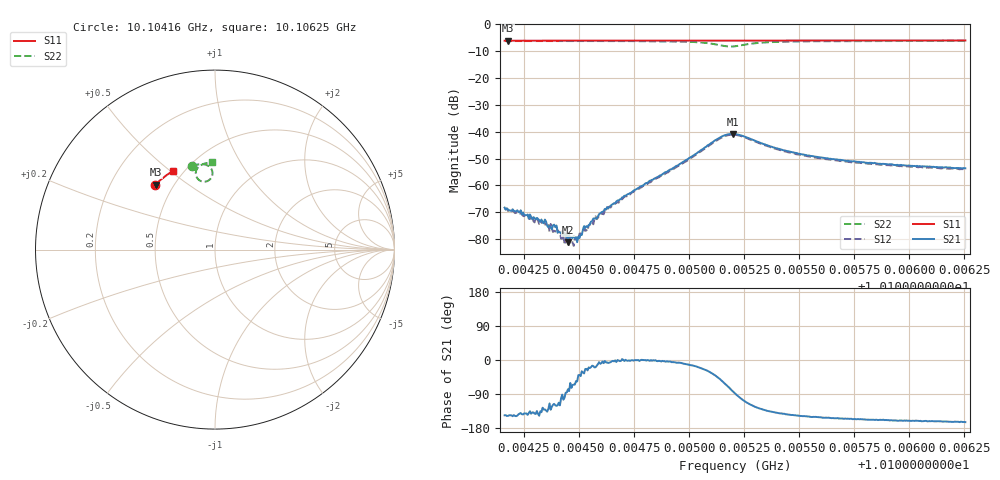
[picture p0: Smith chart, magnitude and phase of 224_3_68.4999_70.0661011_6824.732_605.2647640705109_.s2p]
#  HZ  S  RI  R  50.00
! Rohde & Schwarz Vector Network Analyzer
! Rohde-Schwarz,ZNB20-2Port,1311601062101988,3.16
! Created: UTC 3/20/2024, 5:13:47 PM
! freq[Hz]  re:S11  im:S11  re:S21  im:S21  re:S12  im:S12  re:S22  im:S22
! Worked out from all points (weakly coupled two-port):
!   401 points, 10.10416 GHz to 10.10625 GHz, reference 50 ohm
!   highest |S21| = -40.81 dB at 10.1052 GHz (marker M1); lowest = -81.2 dB at 10.10445 GHz (marker M2)
!   lowest |S11| = -6.2 dB at 10.10418 GHz (marker M3), VSWR 2.93, Z = 19.9 + j19 ohm
!   |S11| at or under -10 dB: nowhere
!   |S22| runs from -8.4 to -6.2 dB; largest |S21 - S12| = 0.00099
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1.0104162e10  -0.3322 0.3618  -0.000321 -0.000216  -0.000283 -0.000214  -0.1269 0.4665
1.0104178e10  -0.3313 0.3626  -0.000301 -0.000193  -0.000252 -0.00022  -0.1259 0.4668
1.0104225e10  -0.3294 0.3646  -0.000259 -0.000192  -0.000229 -0.000202  -0.1225 0.4677
1.010434e10  -0.3243 0.3696  -0.000129 -0.00015  -0.000142 -0.000154  -0.114 0.4701
1.0104366e10  -0.3232 0.3706  -7.48e-05 -0.000162  -5.41e-05 -0.000127  -0.1121 0.4705
1.0104387e10  -0.3223 0.3715  -8.13e-05 -0.000168  -3.87e-05 -0.000138  -0.1104 0.471
1.0104403e10  -0.3214 0.3722  -6.52e-05 -0.000114  -6.22e-05 -0.000133  -0.1092 0.4712
1.0104429e10  -0.3204 0.3733  -3e-05 -0.000114  -3.09e-05 -0.000118  -0.1072 0.4717
1.010445e10  -0.3194 0.3741  1.94e-05 -8.51e-05  -2.91e-05 -9.2e-05  -0.1056 0.4721
1.0104492e10  -0.3177 0.3759  4.86e-05 -7.34e-05  8.18e-05 -7.12e-05  -0.1021 0.4728
1.0104513e10  -0.3166 0.3766  0.000104 -5.97e-05  0.000117 -4.74e-05  -0.1004 0.4731
1.0104528e10  -0.316 0.3773  0.000148 -6.51e-05  0.000138 -3.88e-05  -0.0992 0.4734
1.0104617e10  -0.3119 0.381  0.000366 -1.69e-05  0.000339 -6.88e-06  -0.0912 0.4748
1.0104701e10  -0.3082 0.3843  0.000606 5.25e-06  0.000582 3.63e-05  -0.0832 0.4756
1.0104863e10  -0.3005 0.3909  0.00148 -5.71e-05  0.00141 8.24e-05  -0.0633 0.4756
1.010513e10  -0.2874 0.4006  0.00516 -0.00524  0.00543 -0.00453  -0.0154 0.4128
1.0105198e10  -0.2845 0.4028  0.0012 -0.00903  0.00202 -0.00854  -0.0634 0.3782
1.0105208e10  -0.2841 0.4032  0.000257 -0.00903  0.00113 -0.00865  -0.0736 0.3799
1.0105391e10  -0.2758 0.4102  -0.00373 -0.0033  -0.00331 -0.00349  -0.0964 0.4558
1.0105559e10  -0.2675 0.4161  -0.00306 -0.00173  -0.00274 -0.00194  -0.0743 0.473
1.0105909e10  -0.2496 0.4279  -0.00232 -0.000869  -0.00214 -0.00105  -0.0418 0.4833
1.0106254e10  -0.2318 0.4389  -0.002 -0.000574  -0.00186 -0.000725  -0.0159 0.487
